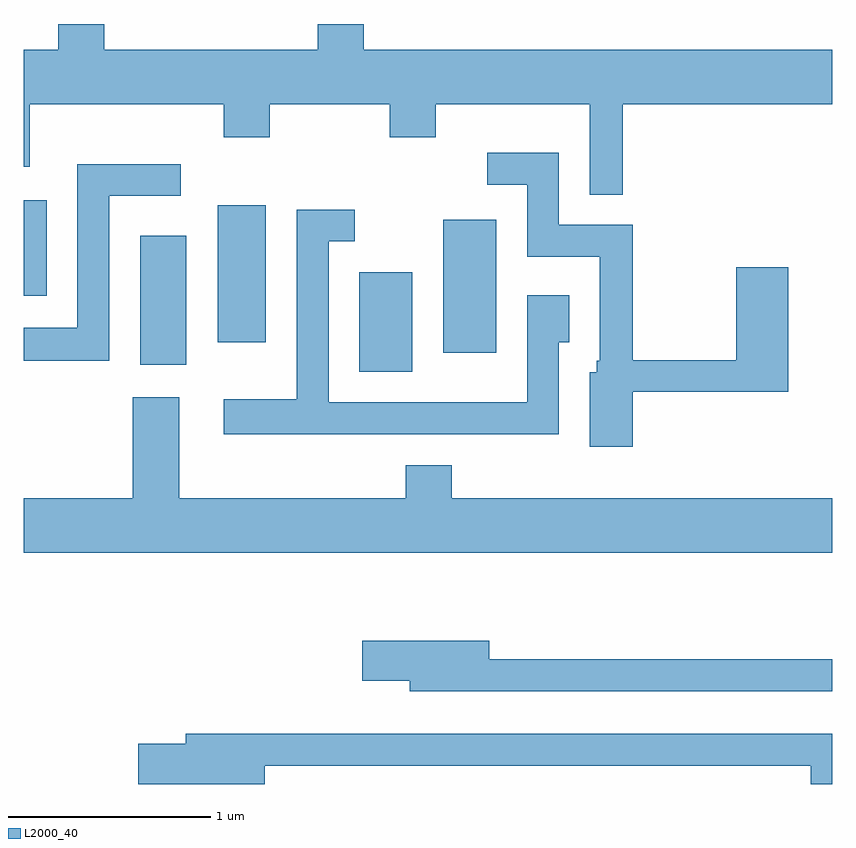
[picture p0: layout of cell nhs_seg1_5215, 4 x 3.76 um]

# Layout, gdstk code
import gdstk
lib = gdstk.Library(unit=1e-6, precision=1e-09)
def R(c, l, rs):  # rectangles x0, y0, x1, y1
    for r in rs: c.add(gdstk.rectangle(r[:2], r[2:], *l))
def P(c, l, *ps):  # polygons
    for p in ps: c.add(gdstk.Polygon(p, *l))
L2000_40 = (2000, 40)

nhs_seg1_5215 = lib.new_cell('nhs_seg1_5215')
R(nhs_seg1_5215, L2000_40, [(343.271,935.991,343.534,936.484), (342.186,936.026,342.414,936.664), (343.686,936.086,343.949,936.744), (342.571,936.136,342.809,936.814), (341.611,936.366,341.724,936.839)])
P(nhs_seg1_5215, L2000_40, [(344.574,937.316),(345.611,937.316),(345.611,937.584),(343.294,937.584),(343.294,937.712),(343.066,937.712),(343.066,937.584),(342.009,937.584),(342.009,937.712),(341.781,937.712),(341.781,937.584),(341.611,937.584),(341.611,937.006),(341.639,937.006),(341.639,937.316),(342.601,937.316),(342.601,937.151),(342.829,937.151),(342.829,937.316),(343.421,937.316),(343.421,937.151),(343.649,937.151),(343.649,937.316),(344.411,937.316),(344.411,936.868),(344.574,936.868)],
  [(344.624,935.891),(345.394,935.891),(345.394,936.509),(345.136,936.509),(345.136,936.049),(344.624,936.049),(344.624,936.719),(344.259,936.719),(344.259,937.074),(343.903,937.074),(343.903,936.916),(344.101,936.916),(344.101,936.561),(344.461,936.561),(344.461,936.045),(344.446,936.045),(344.446,935.989),(344.411,935.989),(344.411,935.621),(344.624,935.621)],
  [(342.034,936.861),(342.388,936.861),(342.388,937.019),(341.876,937.019),(341.876,936.209),(341.611,936.209),(341.611,936.046),(342.034,936.046)],
  [(344.259,936.136),(344.309,936.136),(344.309,936.369),(344.101,936.369),(344.101,935.839),(343.119,935.839),(343.119,936.636),(343.248,936.636),(343.248,936.794),(342.961,936.794),(342.961,935.854),(342.601,935.854),(342.601,935.681),(344.259,935.681)],
  [(345.611,935.364),(343.729,935.364),(343.729,935.529),(343.501,935.529),(343.501,935.364),(342.379,935.364),(342.379,935.864),(342.151,935.864),(342.151,935.364),(341.611,935.364),(341.611,935.096),(345.611,935.096)],
  [(345.611,934.569),(343.914,934.569),(343.914,934.659),(343.286,934.659),(343.286,934.461),(343.521,934.461),(343.521,934.411),(345.611,934.411)],
  [(342.804,934.041),(345.506,934.041),(345.506,933.951),(345.611,933.951),(345.611,934.199),(342.411,934.199),(342.411,934.149),(342.176,934.149),(342.176,933.951),(342.804,933.951)])

lib.write_gds('nhs_seg1_5215.gds')
